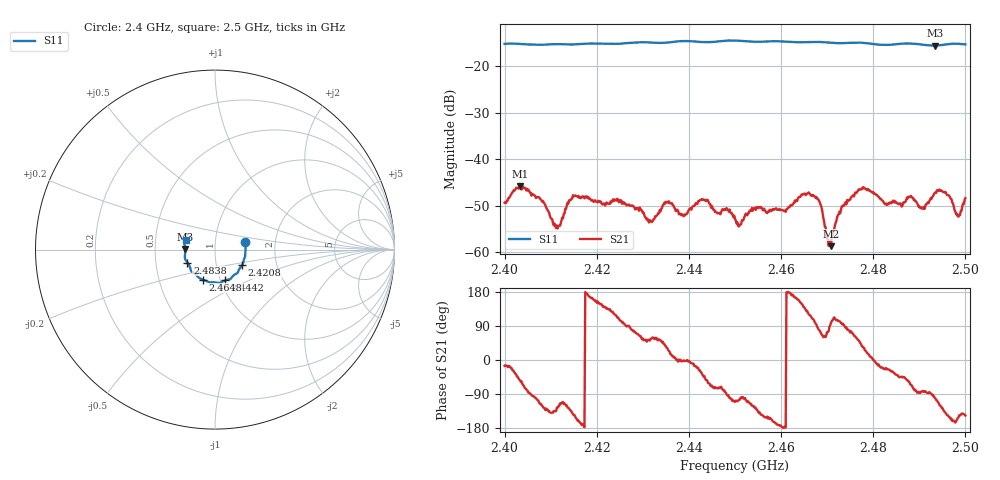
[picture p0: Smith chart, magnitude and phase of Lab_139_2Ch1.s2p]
# Hz S RI R 50
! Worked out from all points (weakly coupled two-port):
!   601 points, 2.4 GHz to 2.5 GHz, reference 50 ohm
!   highest |S21| = -45.85 dB at 2.4033 GHz (marker M1); lowest = -58.7 dB at 2.4708 GHz (marker M2)
!   lowest |S11| = -15.6 dB at 2.4933 GHz (marker M3), VSWR 1.40, Z = 35.8 + j0.0445 ohm
!   |S11| at or under -10 dB: start of sweep to end of sweep
!   S12 and S22 are empty: the file has one direction only
!   S11 on the Smith chart (normalised r, x): 2.4 GHz: 1.40, +0.12; 2.4208 GHz: 1.33, -0.24; 2.4442 GHz: 1.05, -0.37; 2.4648 GHz: 0.83, -0.29; 2.4838 GHz: 0.73, -0.11; 2.5 GHz: 0.72, +0.08
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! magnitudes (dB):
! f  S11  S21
! 2.4 GHz  -15.3  -49.3
! 2.4033 GHz  -15.3  -45.8
! 2.4115 GHz  -15.3  -54.9
! 2.4145 GHz  -15.4  -48.5
! 2.4167 GHz  -15.2  -48.3
! 2.4208 GHz  -15.2  -49.1
! 2.4333 GHz  -15.0  -51.6
! 2.4442 GHz  -14.9  -48.9
! 2.45 GHz  -14.5  -52.9
! 2.4648 GHz  -14.9  -47.5
! 2.4667 GHz  -14.8  -47.9
! 2.4683 GHz  -14.8  -49.1
! 2.4708 GHz  -15.0  -58.7
! 2.473 GHz  -15.1  -50.9
! 2.477 GHz  -15.0  -46.6
! 2.4833 GHz  -15.5  -49.4
! 2.4838 GHz  -15.4  -49.5
! 2.4907 GHz  -15.4  -50.6
! 2.4933 GHz  -15.6  -47.3
! 2.4962 GHz  -15.3  -47.7
! 2.4983 GHz  -15.2  -52.3
! 2.5 GHz  -15.3  -48.4
